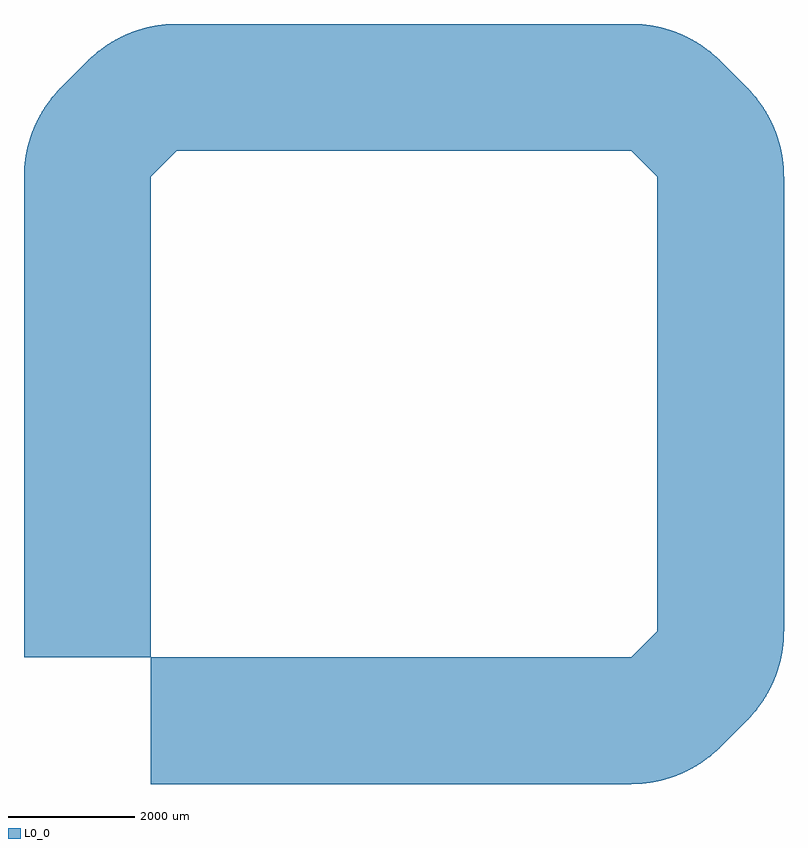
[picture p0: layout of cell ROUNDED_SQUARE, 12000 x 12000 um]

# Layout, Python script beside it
import gdspy

# Create a new GDSII library with default unit (1e-6 meters = 1 micrometer)
lib = gdspy.GdsLibrary()

# Create a new cell in the library
cell = lib.new_cell('ROUNDED_SQUARE')

# Define the size of the square and the corner rounding radius
square_size = 10.0  # in mm
corner_radius = 1.0  # in mm

# Convert mm to micrometers (µm)
square_size_um = square_size * 1000.0
corner_radius_um = corner_radius * 1000.0

# Define the coordinates of the square with rounded corners
paths = [
    [corner_radius_um, 0.0],
    [square_size_um - corner_radius_um, 0.0],
    [square_size_um, corner_radius_um],
    [square_size_um, square_size_um - corner_radius_um],
    [square_size_um - corner_radius_um, square_size_um],
    [corner_radius_um, square_size_um],
    [0.0, square_size_um - corner_radius_um],
    [0.0, corner_radius_um],
]

# Create the rounded square using a polygon with bezier curves for the rounded corners
polygon = gdspy.FlexPath(
    paths,
    2 * corner_radius_um,
    corners='circular bend',
    bend_radius=corner_radius_um,
    gdsii_path=True
)

# Add the polygon to the cell
cell.add(polygon)

# Save the library to a GDS file
lib.write_gds('rounded_square.gds')

# Optionally, display the layout using gdspy's built-in viewer (for verification purposes)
